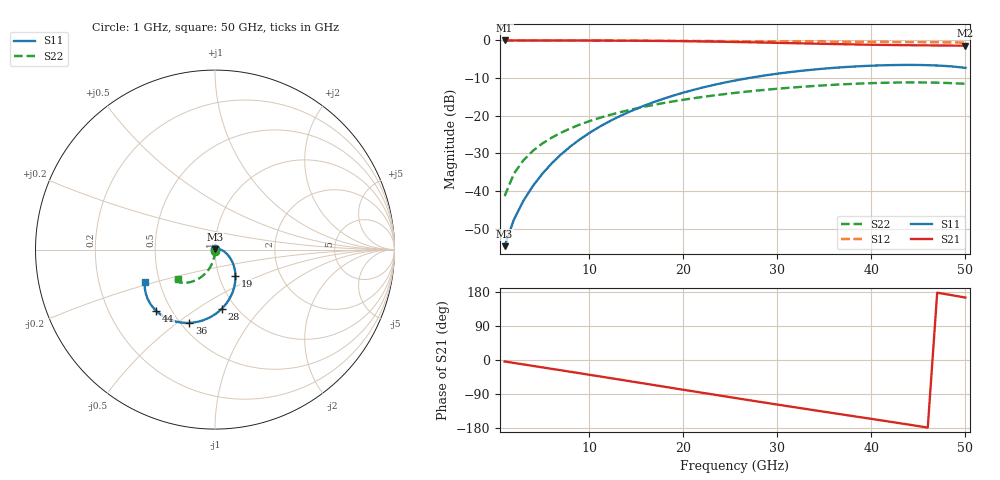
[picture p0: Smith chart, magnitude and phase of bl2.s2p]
! Impedora 0.10.0 via model, case bl2 (fullwave/cases.json), 2026-11-19
! Blind via into the first plane pair: stripline 0.15 mm below the top plane, 0.4 mm pair: with its pads and traces, ports at the far end of each trace, after the 3D port calibration.
! Ports: 1 = upper end, 2 = lower end, 50 ohm.
! Compared with the edge 3D mesh.
# Hz S RI R 50
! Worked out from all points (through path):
!   50 points, 1 GHz to 50 GHz, reference 50 ohm
!   highest |S21| = 0.00 dB at 1 GHz (marker M1); lowest = -1.4 dB at 50 GHz (marker M2)
!   group delay of S21, straight-line fit = 10.8 ps
!   lowest |S11| = -54.7 dB at 1 GHz (marker M3), VSWR 1.00, Z = 50.1 + j0.172 ohm
!   |S11| at or under -10 dB: start of sweep to 26.93 GHz
!   |S22| runs from -41.4 to -11.1 dB; largest |S21 - S12| = 1.6
!   S11 on the Smith chart (normalised r, x): 1 GHz: 1.00, +0.00; 19 GHz: 1.20, -0.36; 28 GHz: 0.86, -0.64; 36 GHz: 0.55, -0.55; 44 GHz: 0.41, -0.36; 50 GHz: 0.41, -0.19
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1e9  0.000681 0.00172  0.9977 -0.0675  0.9997 -0.0214  -0.000191 -0.00855
2e9  0.00271 0.00323  0.9909 -0.1348  0.9989 -0.0428  -0.000763 -0.0171
3e9  0.00604 0.00431  0.9794 -0.2014  0.9976 -0.0641  -0.00172 -0.0256
4e9  0.0106 0.00476  0.9635 -0.2672  0.9957 -0.0854  -0.00305 -0.034
5e9  0.0163 0.00439  0.9431 -0.3318  0.9934 -0.1066  -0.00475 -0.0424
7e9  0.0306 0.000464  0.8891 -0.4564  0.987 -0.1488  -0.00928 -0.0588
1e10  0.0568 -0.0155  0.7765 -0.6269  0.9737 -0.2114  -0.0187 -0.0824
1.2e10  0.075 -0.0341  0.6822 -0.726  0.9623 -0.2523  -0.0267 -0.0973
1.4e10  0.0916 -0.0592  0.5744 -0.8107  0.9489 -0.2927  -0.0359 -0.1114
1.8e10  0.1126 -0.1271  0.3281 -0.9284  0.9165 -0.371  -0.0577 -0.1364
1.9e10  0.114 -0.147  0.2623 -0.9459  0.9073 -0.39  -0.0637 -0.142
2.2e10  0.1068 -0.2103  0.0612 -0.9686  0.8771 -0.4457  -0.0829 -0.1568
2.6e10  0.0679 -0.2939  -0.1995 -0.9305  0.8309 -0.5165  -0.1105 -0.1718
2.8e10  0.0364 -0.3307  -0.3199 -0.8848  0.8054 -0.5503  -0.1247 -0.1773
3.1e10  -0.023 -0.3747  -0.4817 -0.7884  0.7641 -0.5991  -0.1459 -0.1828
3.4e10  -0.0929 -0.4015  -0.6165 -0.6652  0.7192 -0.6455  -0.1664 -0.1851
3.6e10  -0.1426 -0.4083  -0.6902 -0.5718  0.6872 -0.6752  -0.1793 -0.185
3.9e10  -0.2174 -0.4011  -0.7759 -0.4193  0.6356 -0.7179  -0.1965 -0.1824
4.2e10  -0.2874 -0.3723  -0.8319 -0.2558  0.5789 -0.7587  -0.2102 -0.1775
4.4e10  -0.3284 -0.3407  -0.8527 -0.1419  0.5374 -0.785  -0.2162 -0.1732
4.7e10  -0.3754 -0.2739  -0.8572 0.0362  0.4668 -0.8227  -0.2185 -0.1668
5e10  -0.3917 -0.1824  -0.8221 0.2239  0.3796 -0.856  -0.2081 -0.1652
